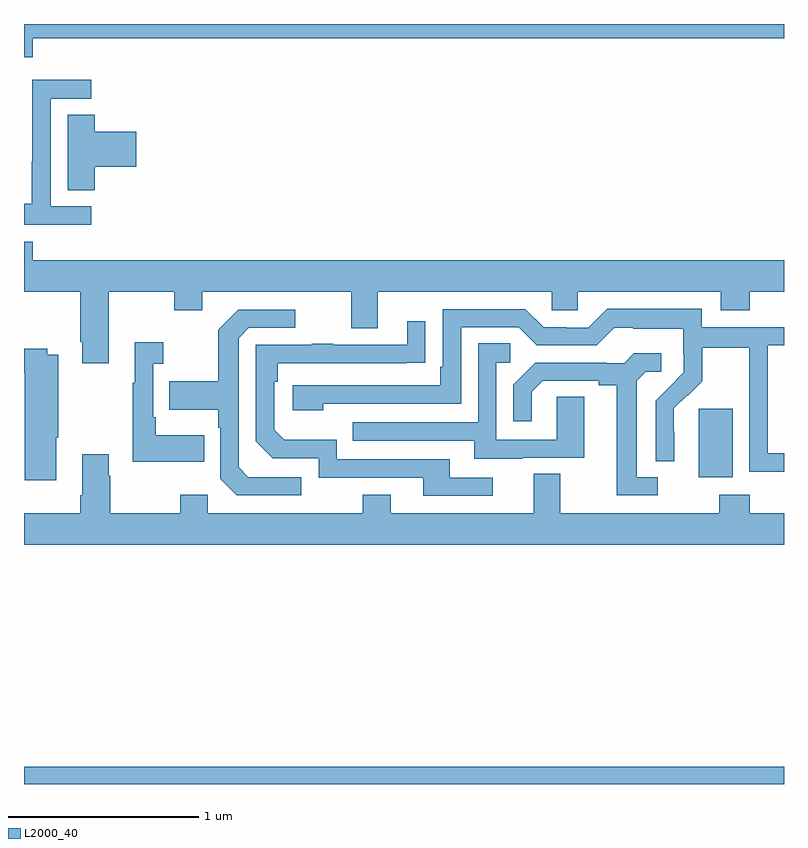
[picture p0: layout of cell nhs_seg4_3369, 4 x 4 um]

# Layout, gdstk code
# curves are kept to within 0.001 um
import gdstk
lib = gdstk.Library(unit=1e-6, precision=1e-09)
def R(c, l, rs):  # rectangles x0, y0, x1, y1
    for r in rs: c.add(gdstk.rectangle(r[:2], r[2:], *l))
def P(c, l, *ps):  # polygons
    for p in ps: c.add(gdstk.Polygon(p, *l))
L2000_40 = (2000, 40)

nhs_seg4_3369 = lib.new_cell('nhs_seg4_3369')
R(nhs_seg4_3369, L2000_40, [(289,788.9,293,788.992), (292.55,790.514,292.729,790.875)])
P(nhs_seg4_3369, L2000_40, [(289.046,792.824),(293,792.824),(293,792.9),(289,792.9),(289,792.725),(289.046,792.725)],
  [(289.354,791.94),(289.14,791.94),(289.14,792.507),(289.354,792.507),(289.354,792.606),(289.044,792.606),(289.044,792.176),(289.042,792.176),(289.042,791.953),(289,791.953),(289,791.844),(289.354,791.844)],
  [(289.373,792.149),(289.591,792.149),(289.591,792.332),(289.373,792.332),(289.373,792.422),(289.229,792.422),(289.229,792.025),(289.373,792.025)],
  [(289.447,791.492),(289.792,791.492),(289.792,791.393),(289.939,791.393),(289.939,791.492),(290.723,791.492),(290.723,791.298),(290.863,791.298),(290.863,791.492),(291.777,791.492),(291.777,791.394),(291.915,791.394),(291.915,791.492),(292.667,791.492),(292.667,791.393),(292.82,791.393),(292.82,791.492),(293,791.492),(293,791.656),(289.046,791.656),(289.046,791.755),(289,791.755),(289,791.492),(289.295,791.492),(289.295,791.227),(289.307,791.227),(289.307,791.115),(289.447,791.115)],
  [(293,790.641),(292.914,790.641),(292.914,791.208),(293,791.208),(293,791.304),(292.566,791.304),(292.566,791.401),(292.069,791.401),(291.969,791.301),(291.854,791.301),(291.854,791.304),(291.735,791.304),(291.639,791.4),(291.204,791.4),(291.204,791.095),(291.191,791.095),(291.191,790.998),(290.415,790.998),(290.415,790.868),(290.576,790.868),(290.576,790.902),(291.3,790.902),(291.3,791.304),(291.603,791.304),(291.699,791.208),(292.014,791.208),(292.107,791.301),(292.207,791.301),(292.207,791.297),(292.47,791.297),(292.47,791.163),(292.472,791.163),(292.472,791.066),(292.326,790.918),(292.326,790.6),(292.422,790.6),(292.421,790.877),(292.491,790.947),(292.494,790.944),(292.571,791.021),(292.571,791.196),(292.816,791.196),(292.816,790.972),(292.818,790.972),(292.818,790.543),(293,790.543)],
  [(290.458,790.515),(290.181,790.515),(290.13,790.566),(290.13,791.247),(290.184,791.301),(290.428,791.301),(290.428,791.397),(290.127,791.397),(290.022,791.291),(290.022,791.019),(289.765,791.019),(289.765,790.871),(290.022,790.871),(290.022,790.775),(290.034,790.775),(290.034,790.506),(290.121,790.419),(290.458,790.419)],
  [(291.466,790.512),(291.241,790.512),(291.241,790.608),(290.646,790.608),(290.646,790.711),(290.369,790.711),(290.316,790.764),(290.316,791.018),(290.336,791.018),(290.336,791.115),(291.113,791.116),(291.113,791.335),(291.017,791.335),(291.017,791.211),(290.627,791.211),(290.627,791.216),(290.515,791.216),(290.515,791.211),(290.22,791.211),(290.22,790.704),(290.31,790.614),(290.55,790.614),(290.55,790.512),(291.101,790.512),(291.101,790.416),(291.466,790.416)],
  [(289.949,790.735),(289.693,790.735),(289.693,790.831),(289.68,790.831),(289.68,791.111),(289.732,791.111),(289.732,791.224),(289.583,791.224),(289.583,791.011),(289.572,791.011),(289.572,790.595),(289.949,790.595)],
  [(291.625,790.617),(291.949,790.617),(291.949,790.937),(291.804,790.937),(291.804,790.713),(291.486,790.713),(291.486,791.118),(291.559,791.118),(291.559,791.219),(291.39,791.219),(291.39,790.803),(290.731,790.803),(290.731,790.707),(291.371,790.707),(291.371,790.613),(291.625,790.613)],
  [(289.171,790.723),(289.179,790.723),(289.179,791.158),(289.122,791.158),(289.122,791.191),(289,791.191),(289,791.062),(289.004,791.062),(289.004,790.5),(289.171,790.5)],
  [(292.336,790.515),(292.225,790.515),(292.225,791.023),(292.272,791.07),(292.354,791.07),(292.354,791.167),(292.21,791.167),(292.158,791.115),(292.064,791.115),(292.064,791.118),(291.692,791.118),(291.576,791.002),(291.576,790.809),(291.673,790.809),(291.673,790.965),(291.73,791.022),(292.025,791.022),(292.025,791),(292.121,791),(292.121,790.419),(292.336,790.419)],
  [(293,790.324),(292.82,790.324),(292.82,790.423),(292.66,790.423),(292.66,790.324),(291.823,790.324),(291.823,790.532),(291.683,790.532),(291.683,790.324),(290.929,790.324),(290.929,790.423),(290.782,790.423),(290.782,790.324),(289.968,790.324),(289.968,790.423),(289.822,790.423),(289.822,790.324),(289.455,790.324),(289.455,790.523),(289.447,790.523),(289.447,790.636),(289.307,790.636),(289.307,790.42),(289.295,790.42),(289.295,790.324),(289,790.324),(289,790.16),(293,790.16)])

lib.write_gds('nhs_seg4_3369.gds')
